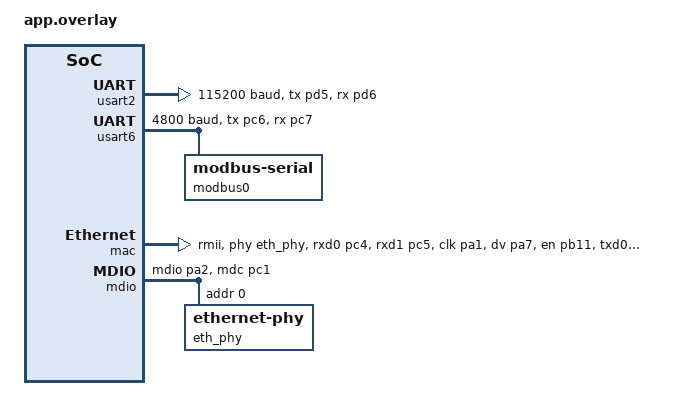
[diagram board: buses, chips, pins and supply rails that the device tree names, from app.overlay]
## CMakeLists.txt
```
cmake_minimum_required(VERSION 3.20.0)
find_package(Zephyr REQUIRED HINTS $ENV{ZEPHYR_BASE})
project(modbus-replacer-stm32)

target_sources(app PRIVATE 
	src/main.c
	src/web.c
)

set(gen_dir ${ZEPHYR_BINARY_DIR}/include/generated/)

zephyr_linker_sources(SECTIONS sections-rom.ld)
zephyr_linker_section(
	NAME http_resource_desc_modbus_replacer_http_service
 	KVMA RAM_REGION GROUP RODATA_REGION
)
foreach(web_resource
  index.html
  main.js
  style.css
)
  generate_inc_file_for_target(app
    src/web/${web_resource}
    ${gen_dir}/${web_resource}.gz.inc
    --gzip
  )
endforeach()
```

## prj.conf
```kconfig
# General config
CONFIG_MAIN_STACK_SIZE=2048
CONFIG_ENTROPY_GENERATOR=y
CONFIG_TEST_RANDOM_GENERATOR=y
CONFIG_ZVFS_POLL_MAX=10
# !!!!!!!!
CONFIG_POSIX_API=n

# GPIO config
CONFIG_GPIO=y

# UART config
CONFIG_SERIAL=y
CONFIG_CONSOLE=y
CONFIG_UART_CONSOLE=y

# Modbus config
CONFIG_MODBUS=y
CONFIG_MODBUS_ROLE_CLIENT=y
CONFIG_MODBUS_RAW_ADU=y
CONFIG_MODBUS_NUMOF_RAW_ADU=1

# Network config
CONFIG_NETWORKING=y
CONFIG_NET_L2_ETHERNET=y
CONFIG_NET_IPV4=y
CONFIG_NET_TCP=y
CONFIG_NET_SOCKETS=y
CONFIG_NET_DHCPV4=y

# Network address config
CONFIG_NET_CONFIG_SETTINGS=y
CONFIG_NET_CONFIG_AUTO_INIT=y
CONFIG_NET_CONFIG_NEED_IPV4=y

# HTTP config
CONFIG_HTTP_SERVER=y
CONFIG_HTTP_PARSER=y
CONFIG_HTTP_PARSER_URL=y

# Net buffers config
CONFIG_NET_PKT_RX_COUNT=16
CONFIG_NET_PKT_TX_COUNT=16
CONFIG_NET_BUF_RX_COUNT=64
CONFIG_NET_BUF_TX_COUNT=64

# Net connections config
CONFIG_NET_MAX_CONTEXTS=10
CONFIG_NET_MAX_CONN=10
CONFIG_HTTP_SERVER_MAX_CLIENTS=4

# Zephyr Shell config
CONFIG_SHELL=y
CONFIG_SHELL_BACKEND_SERIAL=y
CONFIG_KERNEL_SHELL=y
CONFIG_DEVICE_SHELL=y
CONFIG_GPIO_SHELL=y
CONFIG_NET_SHELL=y

# Log config
CONFIG_NET_LOG=y
CONFIG_ETHERNET_LOG_LEVEL_DBG=y
CONFIG_MODBUS_LOG_LEVEL_DBG=y
CONFIG_UART_LOG_LEVEL_DBG=y
```

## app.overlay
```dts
/ {
	chosen {
		zephyr,console = &usart2;
		zephyr,shell-uart = &usart2;
	};
	aliases {
		led-serial = &orange_led_3;
		led-status = &green_led_4;
		led-alert = &red_led_5;
		led-net = &blue_led_6;
	};
};

/* Zephyr Shell console */
&usart2 {
	status = "okay";
	pinctrl-0 = <&usart2_tx_pd5 &usart2_rx_pd6>;
	pinctrl-names = "default";
	current-speed = <115200>;
};

/* Modbus RTU interface */
&usart6 {
	status = "okay";
	pinctrl-0 = <&usart6_tx_pc6 &usart6_rx_pc7>;
	pinctrl-names = "default";
	current-speed = <4800>;
	
	modbus0 {
		compatible = "zephyr,modbus-serial";
		status = "okay";
	};
};

/* DM-STF4BB ethernet */
&mac {
	status = "okay";
	pinctrl-0 = <&eth_rxd0_pc4
		     &eth_rxd1_pc5
		     &eth_ref_clk_pa1
		     &eth_crs_dv_pa7
		     &eth_tx_en_pb11
		     &eth_txd0_pb12
		     &eth_txd1_pb13>;
	pinctrl-names = "default";
	phy-connection-type = "rmii";
	phy-handle = <&eth_phy>;
};

&mdio {
	status = "okay";
	pinctrl-0 = <&eth_mdio_pa2 &eth_mdc_pc1>;
	pinctrl-names = "default";

	eth_phy: ethernet-phy@0 {
		compatible = "ethernet-phy";
		reg = <0>;
	};
};
```

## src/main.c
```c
#include <zephyr/kernel.h>
#include <zephyr/logging/log.h>
#include <zephyr/drivers/gpio.h>
#include <zephyr/modbus/modbus.h>

// New MODBUS TCP Includes
#include <zephyr/net/socket.h>


// MODBUS TCP Includes
// #include <zephyr/sys/util.h>

// #include <zephyr/posix/netinet/in.h>
// #include <zephyr/posix/sys/socket.h>
// #include <zephyr/posix/arpa/inet.h>
// #include <zephyr/posix/unistd.h>
// #include <zephyr/posix/poll.h>
// #include <zephyr/posix/netdb.h>


#include "web.h"

LOG_MODULE_REGISTER(mb_replacer_main, LOG_LEVEL_DBG);

// LEDs thread define for debug blink
K_THREAD_STACK_DEFINE(led_thread_stack, 512);
struct k_thread led_thread_data;

// STM32F407Disco LEDs Array
static const struct gpio_dt_spec leds[] = {
	GPIO_DT_SPEC_GET(DT_ALIAS(led_serial), gpios),
	GPIO_DT_SPEC_GET(DT_ALIAS(led_status), gpios),
	GPIO_DT_SPEC_GET(DT_ALIAS(led_alert), gpios),
	GPIO_DT_SPEC_GET(DT_ALIAS(led_net), gpios),
};
const size_t leds_count = ARRAY_SIZE(leds);

// Modbus TCP ADU
static struct modbus_adu tmp_adu;
// Modbus RTU struct
static int mb_rtu_iface;

const static struct modbus_iface_param mb_rtu_iface_param = {
	.mode = MODBUS_MODE_RTU,
	.rx_timeout = 500000,
	.serial = {
		.baud = 4800,
		.parity = UART_CFG_PARITY_NONE,
	},
};

// Modbus RTU interface device tree
#define MODBUS_NODE DT_COMPAT_GET_ANY_STATUS_OKAY(zephyr_modbus_serial)

// Modbus RTU interface init
static int init_mb_rtu_iface(void) {
	const char mb_rtu_iface_name[] = {DEVICE_DT_NAME(MODBUS_NODE)};
	
	mb_rtu_iface = modbus_iface_get_by_name(mb_rtu_iface_name);
	if (mb_rtu_iface < 0) {
		LOG_ERR("Failed to get iface index for %s", mb_rtu_iface_name);
		return -ENODEV;
	}
	
	return modbus_init_client(mb_rtu_iface, mb_rtu_iface_param);
}

// Modbus TCP reply
static int modbus_tcp_reply(int client, struct modbus_adu *adu)
{
	uint8_t header[MODBUS_MBAP_AND_FC_LENGTH];

	modbus_raw_put_header(adu, header);
	if (zsock_send(client, header, sizeof(header), 0) < 0) {
		return -errno;
	}

	if (zsock_send(client, adu->data, adu->length, 0) < 0) {
		return -errno;
	}

	return 0;
}

// Modbus TCP receive data
static int modbus_tcp_connection(int client)
{
	uint8_t header[MODBUS_MBAP_AND_FC_LENGTH];
	int ret;
	int data_len;

	ret = zsock_recv(client, header, sizeof(header), MSG_WAITALL);
	if (ret <= 0) {
		return ret == 0 ? -ENOTCONN : -errno;
	}

	LOG_HEXDUMP_DBG(header, sizeof(header), "h:>");
	modbus_raw_get_header(&tmp_adu, header);
	data_len = tmp_adu.length;

	ret = zsock_recv(client, tmp_adu.data, data_len, MSG_WAITALL);
	if (ret <= 0) {
		return ret == 0 ? -ENOTCONN : -errno;
	}

	LOG_HEXDUMP_DBG(tmp_adu.data, tmp_adu.length, "d:>");
	ret = modbus_raw_backend_txn(mb_rtu_iface, &tmp_adu);
	if (ret == -ENOTSUP || ret == -ENODEV) {
		LOG_WRN("Modbus RTU iface error: %d", ret);
	}

	return modbus_tcp_reply(client, &tmp_adu);
}

// LEDs thread for debug blink
void led_blink_thread(void *p1, void *p2, void *p3)
{
	size_t current_led = 0;
	while (1) {
		gpio_pin_toggle_dt(&leds[current_led++]);
		if (current_led == leds_count) current_led = 0;
		k_msleep(200);
	}
}

int main(void)
{				
	int ret = 0;

	// Init LEDs for debug blink
	for (size_t i = 0; i < leds_count; i++) {
		if (!gpio_is_ready_dt(&leds[i])) {
			LOG_ERR("GPIO device for led %d (%s) is not ready", (int)i, 
            			leds[i].port != NULL ? leds[i].port->name : "NULL");
			return -EIO;
		}
		
		ret = gpio_pin_configure_dt(&leds[i], GPIO_OUTPUT_ACTIVE);
		if (ret < 0) {
			LOG_ERR("Failed to configure pin for led%d (err: %d)", (int)i, ret);
			return ret;
		}
	}
	
	// Create LEDs thread for debug blink
	k_thread_create(
		&led_thread_data, led_thread_stack, K_THREAD_STACK_SIZEOF(led_thread_stack),
		led_blink_thread, NULL, NULL, NULL, 7, 0, K_NO_WAIT
	);

	// MODBUS RTU interface init call
	if (init_mb_rtu_iface()) {
		LOG_ERR("Modbus RTU iface initialization failed");
		return 0;
	}

	// Reconfigure Modbus RTU UART to STOP BIT 1
	// !!! Remove uart6 from text, replace to get interface name from DT by modbus label
	const struct device *uart_dev = DEVICE_DT_GET(DT_NODELABEL(usart6)); 
	if (device_is_ready(uart_dev)) {
		struct uart_config uart_cfg;
		uart_config_get(uart_dev, &uart_cfg);
		uart_cfg.stop_bits = UART_CFG_STOP_BITS_1; 
		int ret = uart_configure(uart_dev, &uart_cfg);
		if (ret) {
			LOG_ERR("Failed to configure UART_CFG_STOP_BITS_1 (err: %d)",  ret);
		}
	}

	int modbus_server;
	struct sockaddr_in bind_addr;
	static int connection_counter;

	modbus_server = zsock_socket(AF_INET, SOCK_STREAM, IPPROTO_TCP);

	if (modbus_server < 0) {
		LOG_ERR("Failed to open socket (err: %d)", errno);
		return 0;
	}

	bind_addr.sin_family = AF_INET;
	bind_addr.sin_addr.s_addr = htonl(INADDR_ANY);
	// !!! This is MODBUS Port! Replace it and set default value!
	bind_addr.sin_port = htons(502);

	if (zsock_bind(modbus_server, (struct sockaddr *)&bind_addr, sizeof(bind_addr)) < 0) {
		LOG_ERR("Failed to bind address (err: %d)", errno);
		return 0;
	}

	// !!! Replace backlog=5 to define
	if (zsock_listen(modbus_server, 5) < 0) {
		LOG_ERR("Failed to listen socket (err: %d)", errno);
		return 0;
	}

	// !!! Here is MODBUS Port! Replace it and set default value!
	LOG_INF("Started MODBUS TCP gateway example on port %d", 502);

	// MODBUS RTU registers buffer
	// uint16_t mb_regs_buffer[7];

	// HTTP Server init call
	http_server_start();
	
	while (1) {

		struct sockaddr_in client_addr;
		socklen_t client_addr_len = sizeof(client_addr);
		char addr_str[INET_ADDRSTRLEN];
		int client;
		int ret;

		client = zsock_accept(modbus_server, (struct sockaddr *)&client_addr, &client_addr_len);

		if (client < 0) {
			LOG_ERR("Failed to accept client (err: %d)", errno);
			continue;
		}

		zsock_inet_ntop(client_addr.sin_family, &client_addr.sin_addr, addr_str, sizeof(addr_str));
		LOG_INF("Connection #%d from %s", connection_counter++, addr_str);

		do {
			ret = modbus_tcp_connection(client);
		} while (!ret);

		zsock_close(client);
		LOG_INF("Connection from %s closed, errno %d", addr_str, ret);


		// // Modbus RTU soil sensor regs read cycle
		// ret = modbus_read_holding_regs(
		// 	mb_rtu_iface,
		// 	0x01,
		// 	0x00,
		// 	mb_regs_buffer,
		// 	ARRAY_SIZE(mb_regs_buffer)
		// );
		
		// if (!ret) {
		// 	for (int i = 0; i < 7; i++) {
		// 		LOG_INF("Reg %d: 0x%X",i , mb_regs_buffer[i]);
		// 	}
		// } else {
		// 	LOG_ERR("MB Transceive error. Code: %d", ret);
		// }
		
		// printk("\
		// 	Humidity:       %d.%d %\n\
		// 	Temperature:    %d.%d °C\n\
		// 	EC:             %d uS/cm\n\
		// 	pH:             %d.%d\n\
		// 	Nitrogen (N):   %d mg/kg\n\
		// 	Phosphorus (P): %d mg/kg\n\
		// 	Potassium (K):  %d mg/kg\n",
		// 	mb_regs_buffer[0] / 10, mb_regs_buffer[0] % 10,
		// 	mb_regs_buffer[1] / 10, mb_regs_buffer[1] % 10,
		// 	mb_regs_buffer[2],
		// 	mb_regs_buffer[3] / 10, mb_regs_buffer[3] % 10,
		// 	mb_regs_buffer[4],
		// 	mb_regs_buffer[5],
		// 	mb_regs_buffer[6]
		// 	);
		
		// k_msleep(10000);

	}

	return 0;
}
```

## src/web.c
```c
#include <zephyr/kernel.h>
#include <zephyr/logging/log.h>
#include <zephyr/net/http/server.h>
#include <zephyr/net/http/service.h>

LOG_MODULE_REGISTER(mb_replacer_web, LOG_LEVEL_DBG);

static uint8_t index_html_gz[] = {
#include "index.html.gz.inc"
};

static uint8_t main_js_gz[] = {
#include "main.js.gz.inc"
};

static uint8_t style_css_gz[] = {
#include "style.css.gz.inc"
};

static struct http_resource_detail_static http_index_gz_resource_detail = {
	.common = {
		.type = HTTP_RESOURCE_TYPE_STATIC,
		.bitmask_of_supported_http_methods = BIT(HTTP_GET),
		.content_encoding = "gzip",
		.content_type = "text/html",
	},
	.static_data = index_html_gz,
	.static_data_len = sizeof(index_html_gz),
};

static struct http_resource_detail_static main_js_gz_resource_detail = {
	.common = {
			.type = HTTP_RESOURCE_TYPE_STATIC,
			.bitmask_of_supported_http_methods = BIT(HTTP_GET),
			.content_encoding = "gzip",
			.content_type = "text/javascript",
		},
	.static_data = main_js_gz,
	.static_data_len = sizeof(main_js_gz),
};

static struct http_resource_detail_static style_css_gz_resource_detail = {
	.common = {
			.type = HTTP_RESOURCE_TYPE_STATIC,
			.bitmask_of_supported_http_methods = BIT(HTTP_GET),
			.content_encoding = "gzip",
			.content_type = "text/css",
		},
	.static_data = style_css_gz,
	.static_data_len = sizeof(style_css_gz),
};

static int uptime_handler(
	struct http_client_ctx *client, 
	enum http_transaction_status status,
	const struct http_request_ctx *request_ctx,
	struct http_response_ctx *response_ctx,
	void *user_data
)
{
	int ret;
	static uint8_t uptime_buf[sizeof(STRINGIFY(INT64_MAX))];

	// LOG_DBG("Uptime handler status %d", status);

	/* A payload is not expected with the GET request. Ignore any data and wait until
	 * final callback before sending response
	 */
	if (status == HTTP_SERVER_REQUEST_DATA_FINAL) {
		ret = snprintf(uptime_buf, sizeof(uptime_buf), "%" PRId64, k_uptime_get());
		if (ret < 0) {
			LOG_ERR("Failed to snprintf uptime, err %d", ret);
			return ret;
		}

		response_ctx->body = uptime_buf;
		response_ctx->body_len = ret;
		response_ctx->final_chunk = true;
	}

	return 0;
}

static struct http_resource_detail_dynamic uptime_resource_detail = {
	.common = {
			.type = HTTP_RESOURCE_TYPE_DYNAMIC,
			.bitmask_of_supported_http_methods = BIT(HTTP_GET),
		},
	.cb = uptime_handler,
	.user_data = NULL,
};

static uint16_t http_service_port = 80;

HTTP_SERVICE_DEFINE(
	modbus_replacer_http_service,
	NULL,
	&http_service_port,
	CONFIG_HTTP_SERVER_MAX_CLIENTS,
	10,
	NULL,
	NULL,
	NULL
);

HTTP_RESOURCE_DEFINE(
	http_index_gz_resource,
	modbus_replacer_http_service,
	"/",
	&http_index_gz_resource_detail
);

HTTP_RESOURCE_DEFINE(
	main_js_gz_resource,
	modbus_replacer_http_service,
	"/main.js",
	&main_js_gz_resource_detail
);

HTTP_RESOURCE_DEFINE(
	style_css_gz_resource,
	modbus_replacer_http_service,
	"/style.css",
	&style_css_gz_resource_detail
);

HTTP_RESOURCE_DEFINE(
	uptime_resource, 
	modbus_replacer_http_service, 
	"/uptime", 
	&uptime_resource_detail
);
```

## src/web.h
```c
#ifndef WEB_H_
#define WEB_H_

int http_server_start(void);

#endif /* WEB_H_ */
```
